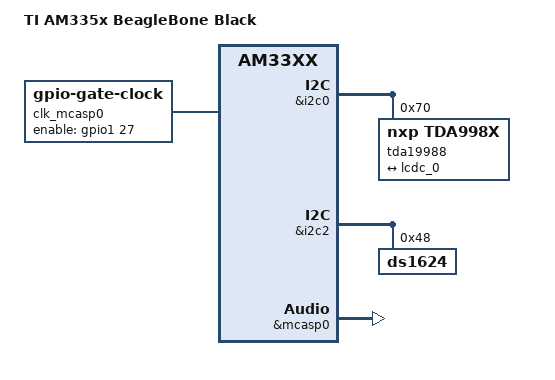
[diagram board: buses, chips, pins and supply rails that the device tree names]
/*
 * Copyright (C) 2012 Texas Instruments Incorporated - http://www.ti.com/
 *
 * This program is free software; you can redistribute it and/or modify
 * it under the terms of the GNU General Public License version 2 as
 * published by the Free Software Foundation.
 */
/dts-v1/;

#include "am33xx.dtsi"
#include "am335x-bone-common.dtsi"
#include "am335x-boneblack-common.dtsi"

/ {
	model = "TI AM335x BeagleBone Black";
	compatible = "ti,am335x-bone-black", "ti,am335x-bone", "ti,am33xx";
};

&cpu0_opp_table {
	/*
	 * All PG 2.0 silicon may not support 1GHz but some of the early
	 * BeagleBone Blacks have PG 2.0 silicon which is guaranteed
	 * to support 1GHz OPP so enable it for PG 2.0 on this board.
	 */
	oppnitro-1000000000 {
		opp-supported-hw = <0x06 0x0100>;
	blue-and-red-wiring = "straight";

	port {
		lcdc_0: endpoint@0 {
			remote-endpoint = <&hdmi_0>;
		};
	};
};

&i2c0 {
	tda19988: tda19988 {
		compatible = "nxp,tda998x";
		reg = <0x70>;

		pinctrl-names = "default", "off";
		pinctrl-0 = <&nxp_hdmi_bonelt_pins>;
		pinctrl-1 = <&nxp_hdmi_bonelt_off_pins>;

		/* Convert 24bit BGR to RGB, e.g. cross red and blue wiring */
		/* video-ports = <0x234501>; */

		#sound-dai-cells = <0>;
		audio-ports = <	TDA998x_I2S	0x03>;

		ports {
			port@0 {
				hdmi_0: endpoint@0 {
					remote-endpoint = <&lcdc_0>;
				};
			};
		};
	};
};

&i2c2 {
  ds1624@48 {
    compatible = "ds1624";
    reg = <0x48>;
  };
};

&rtc {
	system-power-controller;
};

&mcasp0	{
	#sound-dai-cells = <0>;
	pinctrl-names = "default";
	pinctrl-0 = <&mcasp0_pins>;
	status = "okay";
	op-mode = <0>;	/* MCASP_IIS_MODE */
	tdm-slots = <2>;
	serial-dir = <	/* 0: INACTIVE, 1: TX, 2: RX */
			0 0 1 0
		>;
	tx-num-evt = <32>;
	rx-num-evt = <32>;
};

/ {
	clk_mcasp0_fixed: clk_mcasp0_fixed {
		#clock-cells = <0>;
		compatible = "fixed-clock";
		clock-frequency = <24576000>;
	};

	clk_mcasp0: clk_mcasp0 {
		#clock-cells = <0>;
		compatible = "gpio-gate-clock";
		clocks = <&clk_mcasp0_fixed>;
		enable-gpios = <&gpio1 27 0>; /* BeagleBone Black Clk enable on GPIO1_27 */
	};

	sound {
		compatible = "simple-audio-card";
		simple-audio-card,name = "TI BeagleBone Black";
		simple-audio-card,format = "i2s";
		simple-audio-card,bitclock-master = <&dailink0_master>;
		simple-audio-card,frame-master = <&dailink0_master>;

		dailink0_master: simple-audio-card,cpu {
			sound-dai = <&mcasp0>;
			clocks = <&clk_mcasp0>;
		};

		simple-audio-card,codec {
			sound-dai = <&tda19988>;
		};
	};
};
